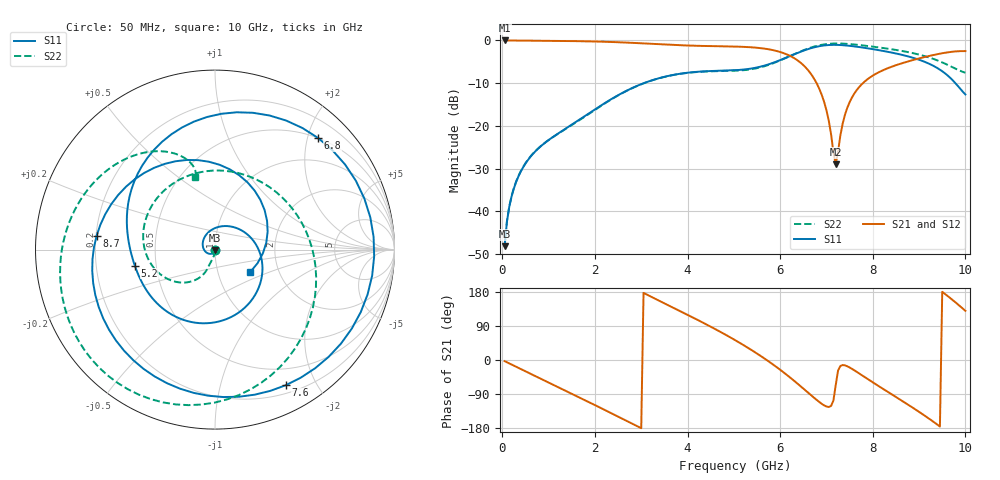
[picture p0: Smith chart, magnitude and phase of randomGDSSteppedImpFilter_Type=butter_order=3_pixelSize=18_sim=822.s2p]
! freq	dB(S11)	phase(S11)	dB(S12)	phase(S12)
!  dB(S21)	phase(S21)	dB(S22)	phase(S22)
!S-par simulation data
#  GHz  S  DB  R 50
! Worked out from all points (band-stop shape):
!   200 points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, 50 MHz to 10 GHz, reference 50 ohm
!   highest |S21| = -0.01 dB at 50 MHz (marker M1); lowest = -29.0 dB at 7.2 GHz (marker M2)
!   |S21| within 3 dB of the highest: start of sweep to 6.082 GHz; 9.497 GHz to end of sweep
!   lowest |S11| = -48.2 dB at 50 MHz (marker M3), VSWR 1.01, Z = 50 - j0.391 ohm
!   |S11| at or under -10 dB: start of sweep to 3.056 GHz; 9.784 GHz to end of sweep
!   |S22| runs from -48.1 to -0.7 dB; largest |S21 - S12| = 0
!   S11 on the Smith chart (normalised r, x): 50 MHz: 1.00, -0.01; 5.2 GHz: 0.38, -0.08; 6.8 GHz: 0.50, +2.19; 7.6 GHz: 0.29, -1.61; 8.7 GHz: 0.20, +0.06; 10 GHz: 1.44, -0.38
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0.05  -48.16 -89.0  -0.01 -3.0  -0.01 -3.0  -48.14 -84.4
0.2  -36.55 -108.0  -0.02 -11.9  -0.02 -11.9  -36.43 -92.9
0.45  -29.69 -133.9  -0.04 -26.6  -0.04 -26.6  -29.59 -99.5
1.15  -22.18 151.1  -0.11 -68.0  -0.11 -68.0  -22.22 -109.2
1.75  -17.96 82.8  -0.19 -103.9  -0.19 -103.9  -18.06 -112.3
2.6  -12.23 -0.9  -0.46 -155.5  -0.46 -155.5  -12.28 -131.2
3.4  -8.79 -62.8  -0.90 155.8  -0.90 155.8  -8.81 -166.2
4.3  -7.27 -120.1  -1.28 100.6  -1.28 100.6  -7.32 141.6
5.05  -6.95 -161.0  -1.44 50.8  -1.44 50.8  -7.08 82.7
5.2  -6.83 -168.8  -1.50 40.0  -1.50 40.0  -6.97 68.5
5.65  -5.92 165.8  -1.90 4.9  -1.90 4.9  -6.07 22.2
6.1  -4.17 131.0  -3.08 -35.1  -3.08 -35.1  -4.21 -25.4
6.7  -1.71 61.1  -8.39 -96.4  -8.39 -96.4  -1.54 -85.4
6.8  -1.45 47.3  -10.29 -106.5  -10.29 -106.5  -1.24 -94.9
7.2  -1.04 -9.4  -29.03 -66.2  -29.03 -66.2  -0.71 -130.2
7.6  -1.39 -62.5  -12.46 -27.1  -12.46 -27.1  -0.95 -159.1
7.95  -1.95 -104.1  -8.58 -55.0  -8.58 -55.0  -1.38 180.0
8.35  -2.72 -148.3  -6.39 -86.1  -6.39 -86.1  -1.97 159.1
8.7  -3.56 173.3  -5.11 -113.1  -5.11 -113.1  -2.60 142.4
9.3  -5.89 100.8  -3.43 -162.1  -3.43 -162.1  -4.29 116.6
9.7  -9.04 38.5  -2.67 160.7  -2.67 160.7  -6.16 105.2
10  -12.64 -32.0  -2.50 129.8  -2.50 129.8  -7.56 105.4
